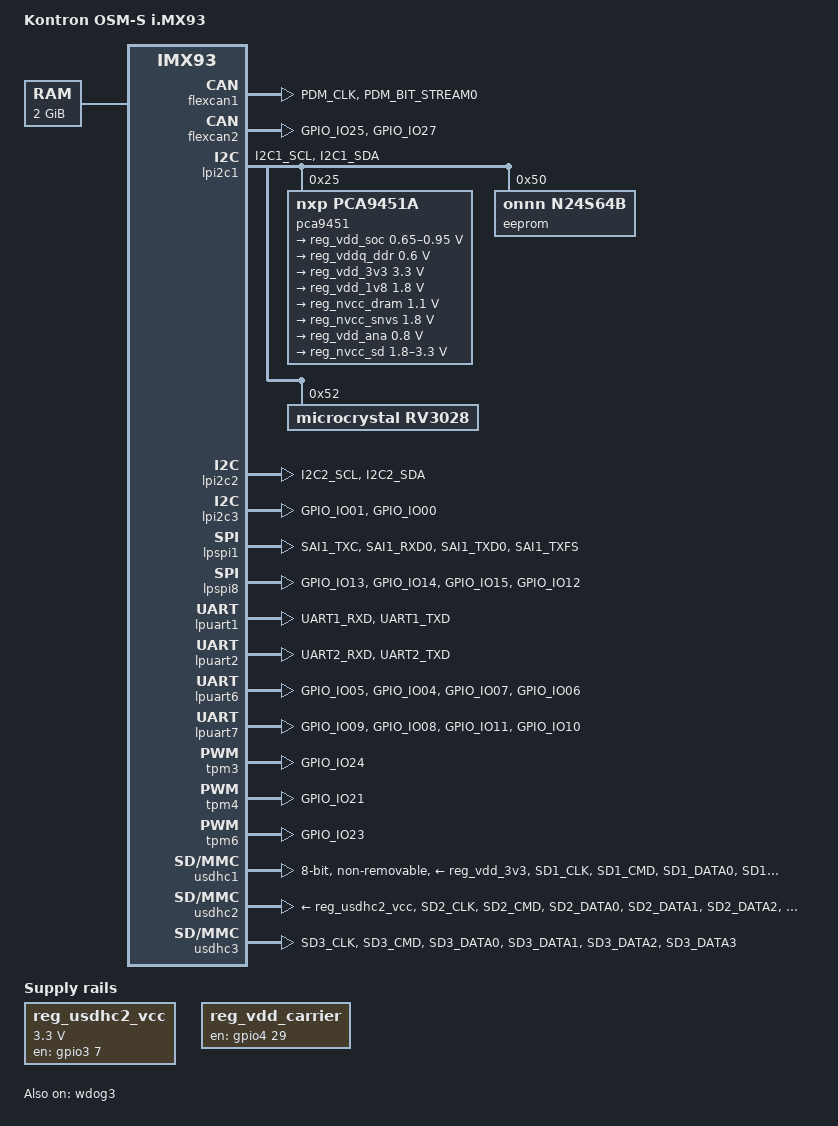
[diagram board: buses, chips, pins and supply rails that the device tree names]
// SPDX-License-Identifier: GPL-2.0+ OR MIT
/*
 * Copyright (C) 2024 Kontron Electronics GmbH
 */

#include <dt-bindings/interrupt-controller/irq.h>
#include "imx93.dtsi"

/ {
	model = "Kontron OSM-S i.MX93";
	compatible = "kontron,imx93-osm-s", "fsl,imx93";

	aliases {
		rtc0 = &rv3028;
		rtc1 = &bbnsm_rtc;
	};

	memory@40000000 {
		device_type = "memory";
		reg = <0x0 0x40000000 0 0x80000000>;
	};

	chosen {
		stdout-path = &lpuart1;
	};

	reg_usdhc2_vcc: regulator-usdhc2-vcc {
		compatible = "regulator-fixed";
		pinctrl-names = "default";
		pinctrl-0 = <&pinctrl_reg_usdhc2_vcc>;
		gpio = <&gpio3 7 GPIO_ACTIVE_HIGH>;
		enable-active-high;
		regulator-min-microvolt = <3300000>;
		regulator-max-microvolt = <3300000>;
		regulator-name = "VCC_SDIO_A";
	};

	reg_vdd_carrier: regulator-vdd-carrier {
		compatible = "regulator-fixed";
		pinctrl-names = "default";
		pinctrl-0 = <&pinctrl_reg_vdd_carrier>;
		gpio = <&gpio4 29 GPIO_ACTIVE_HIGH>;
		enable-active-high;
		regulator-always-on;
		regulator-boot-on;
		regulator-name = "VDD_CARRIER";

		regulator-state-standby {
			regulator-on-in-suspend;
		};

		regulator-state-mem {
			regulator-off-in-suspend;
		};

		regulator-state-disk {
			regulator-off-in-suspend;
		};
	};
};

&flexcan1 { /* OSM-S CAN_A */
	pinctrl-names = "default";
	pinctrl-0 = <&pinctrl_flexcan1>;
};

&flexcan2 { /* OSM-S CAN_B */
	pinctrl-names = "default";
	pinctrl-0 = <&pinctrl_flexcan2>;
};

&gpio1 {
	pinctrl-names = "default";
	pinctrl-0 = <&pinctrl_gpio1>;
	gpio-line-names = "", "", "I2C_A_SCL", "I2C_A_SDA",
			  "UART_CON_RX", "UART_CON_TX", "UART_C_RX", "UART_C_TX",
			  "CAN_A_TX", "CAN_A_RX", "GPIO_A_0", "SPI_A_CS0",
			  "SPI_A_SDI", "SPI_A_SCK","SPI_A_SDO";
};

&gpio2 {
	pinctrl-names = "default";
	pinctrl-0 = <&pinctrl_gpio2>;
	gpio-line-names = "I2C_B_SDA", "I2C_B_SCL", "GPIO_B_1", "GPIO_A_2",
			  "UART_B_TX", "UART_B_RX", "UART_B_RTS", "UART_B_CTS",
			  "UART_A_TX", "UART_A_RX", "UART_A_RTS", "UART_A_CTS",
			  "SPI_B_CS0", "SPI_B_SDI", "SPI_B_SDO", "SPI_B_SCK",
			  "I2S_BITCLK", "I2S_MCLK", "GPIO_A_1", "I2S_A_DATA_OUT",
			  "I2S_A_DATA_IN", "PWM_2", "GPIO_A_3", "PWM_1",
			  "PWM_0", "CAN_B_TX", "I2S_LRCLK", "CAN_B_RX", "GPIO_A_4",
			  "GPIO_A_5";
};

&gpio3 {
	pinctrl-names = "default";
	pinctrl-0 = <&pinctrl_gpio3>;
	gpio-line-names = "SDIO_A_CD", "SDIO_A_CLK", "SDIO_A_CMD", "SDIO_A_D0",
			  "SDIO_A_D1", "SDIO_A_D2", "SDIO_A_D3", "SDIO_A_PWR_EN",
			  "", "", "", "",
			  "", "", "", "",
			  "", "", "", "",
			  "SDIO_B_CLK", "SDIO_B_CMD", "SDIO_B_D0", "SDIO_B_D1",
			  "SDIO_B_D2", "SDIO_B_D3", "GPIO_A_6", "GPIO_A_7";
};

&gpio4 {
	pinctrl-names = "default";
	pinctrl-0 = <&pinctrl_gpio4>;
	gpio-line-names = "ETH_B_MDC", "ETH_B_MDIO", "ETH_B_TXD4", "ETH_B_TXD3",
			  "ETH_B_TXD2", "ETH_B_TXD1", "ETH_B_TX_EN", "ETH_B_TX_CLK",
			  "ETH_B_RX_CTL", "ETH_B_RX_CLK", "ETH_B_RXD0", "ETH_B_RXD1",
			  "ETH_B_RXD2", "ETH_B_RXD3", "ETH_MDC", "ETH_MDIO",
			  "ETH_A_TXD3", "ETH_A_TXD2", "ETH_A_TXD1", "ETH_A_TXD0",
			  "ETH_A_TX_EN", "ETH_A_TX_CLK", "ETH_A_RX_CTL", "ETH_A_RX_CLK",
			  "ETH_A_RXD0", "ETH_A_RXD1", "ETH_A_RXD2", "ETH_A_RXD3",
			  "GPIO_B_0", "CARRIER_PWR_EN";
};

&lpi2c1 {
	pinctrl-names = "default";
	pinctrl-0 = <&pinctrl_lpi2c1>;
	status = "okay";

	pca9451: pmic@25 {
		compatible = "nxp,pca9451a";
		reg = <0x25>;
		nxp,i2c-lt-enable;

		regulators {
			reg_vdd_soc: BUCK1 { /* dual phase with BUCK3 */
				regulator-name = "+0V8_VDD_SOC (BUCK1)";
				regulator-min-microvolt = <650000>;
				regulator-max-microvolt = <950000>;
				regulator-boot-on;
				regulator-always-on;
				regulator-ramp-delay = <3125>;
			};

			reg_vddq_ddr: BUCK2 {
				regulator-name = "+0V6_VDDQ_DDR (BUCK2)";
				regulator-min-microvolt = <600000>;
				regulator-max-microvolt = <600000>;
				regulator-boot-on;
				regulator-always-on;
				regulator-ramp-delay = <3125>;
			};

			reg_vdd_3v3: BUCK4 {
				regulator-name = "+3V3 (BUCK4)";
				regulator-min-microvolt = <3300000>;
				regulator-max-microvolt = <3300000>;
				regulator-boot-on;
				regulator-always-on;
			};

			reg_vdd_1v8: BUCK5 {
				regulator-name = "+1V8 (BUCK5)";
				regulator-min-microvolt = <1800000>;
				regulator-max-microvolt = <1800000>;
				regulator-boot-on;
				regulator-always-on;
			};

			reg_nvcc_dram: BUCK6 {
				regulator-name = "+1V1_NVCC_DRAM (BUCK6)";
				regulator-min-microvolt = <1100000>;
				regulator-max-microvolt = <1100000>;
				regulator-boot-on;
				regulator-always-on;
			};

			reg_nvcc_snvs: LDO1 {
				regulator-name = "+1V8_NVCC_SNVS (LDO1)";
				regulator-min-microvolt = <1800000>;
				regulator-max-microvolt = <1800000>;
				regulator-boot-on;
				regulator-always-on;
			};

			reg_vdd_ana: LDO4 {
				regulator-name = "+0V8_VDD_ANA (LDO4)";
				regulator-min-microvolt = <800000>;
				regulator-max-microvolt = <800000>;
				regulator-boot-on;
				regulator-always-on;
			};

			reg_nvcc_sd: LDO5 {
				regulator-name = "NVCC_SD (LDO5)";
				regulator-min-microvolt = <1800000>;
				regulator-max-microvolt = <3300000>;
			};
		};
	};

	eeprom@50 {
		compatible = "onnn,n24s64b", "atmel,24c64";
		reg = <0x50>;
		pagesize = <32>;
		size = <8192>;
		num-addresses = <1>;
	};

	rv3028: rtc@52 {
		compatible = "microcrystal,rv3028";
		reg = <0x52>;
	};
};

&lpi2c2 { /* OSM-S I2C_A */
	pinctrl-names = "default";
	pinctrl-0 = <&pinctrl_lpi2c2>;
};

&lpi2c3 { /* OSM-S I2C_B */
	pinctrl-names = "default";
	pinctrl-0 = <&pinctrl_lpi2c3>;
};

&lpspi1 { /* OSM-S SPI_A */
	pinctrl-names = "default";
	pinctrl-0 = <&pinctrl_lpspi1>;
	cs-gpios = <&gpio1 11 GPIO_ACTIVE_LOW>;
};

&lpspi8 { /* OSM-S SPI_B */
	pinctrl-names = "default";
	pinctrl-0 = <&pinctrl_lpspi8>;
	cs-gpios = <&gpio2 12 GPIO_ACTIVE_LOW>;
};

&lpuart1 { /* OSM-S UART_CON */
	pinctrl-names = "default";
	pinctrl-0 = <&pinctrl_lpuart1>;
};

&lpuart2 { /* OSM-S UART_C */
	pinctrl-names = "default";
	pinctrl-0 = <&pinctrl_lpuart2>;
};

&lpuart6 { /* OSM-S UART_B */
	pinctrl-names = "default";
	pinctrl-0 = <&pinctrl_lpuart6>;
};

&lpuart7 { /* OSM-S UART_A */
	pinctrl-names = "default";
	pinctrl-0 = <&pinctrl_lpuart7>;
};

&tpm3 { /* OSM-S PWM_0 */
	pinctrl-names = "default";
	pinctrl-0 = <&pinctrl_tpm3>;
};

&tpm4 { /* OSM-S PWM_2 */
	pinctrl-names = "default";
	pinctrl-0 = <&pinctrl_tpm4>;
};

&tpm6 { /* OSM-S PWM_1 */
	pinctrl-names = "default";
	pinctrl-0 = <&pinctrl_tpm6>;
};

&usdhc1 { /* eMMC */
	pinctrl-names = "default", "state_100mhz", "state_200mhz";
	pinctrl-0 = <&pinctrl_usdhc1>;
	pinctrl-1 = <&pinctrl_usdhc1_100mhz>;
	pinctrl-2 = <&pinctrl_usdhc1_200mhz>;
	vmmc-supply = <&reg_vdd_3v3>;
	vqmmc-supply = <&reg_vdd_1v8>;
	bus-width = <8>;
	non-removable;
	status = "okay";
};

&usdhc2 { /* OSM-S SDIO_A */
	pinctrl-names = "default", "state_100mhz", "state_200mhz";
	pinctrl-0 = <&pinctrl_usdhc2>, <&pinctrl_usdhc2_gpio>;
	pinctrl-1 = <&pinctrl_usdhc2_100mhz>, <&pinctrl_usdhc2_gpio>;
	pinctrl-2 = <&pinctrl_usdhc2_200mhz>, <&pinctrl_usdhc2_gpio>;
	vmmc-supply = <&reg_usdhc2_vcc>;
	cd-gpios = <&gpio3 0 GPIO_ACTIVE_LOW>;
};

&usdhc3 { /* OSM-S SDIO_B */
	pinctrl-names = "default", "state_100mhz", "state_200mhz";
	pinctrl-0 = <&pinctrl_usdhc3>;
	pinctrl-1 = <&pinctrl_usdhc3_100mhz>;
	pinctrl-2 = <&pinctrl_usdhc3_200mhz>;
	vqmmc-supply = <&reg_vdd_1v8>;
};

&wdog3 {
	pinctrl-names = "default";
	pinctrl-0 = <&pinctrl_wdog>;
	fsl,ext-reset-output;
	status = "okay";
};

&iomuxc {
	pinctrl_enet_rgmii: enetrgmiigrp {
		fsl,pins = <
			MX93_PAD_ENET2_MDC__ENET1_MDC			0x57e /* ETH_MDC */
			MX93_PAD_ENET2_MDIO__ENET1_MDIO			0x57e /* ETH_MDIO */
			MX93_PAD_ENET2_RD0__ENET1_RGMII_RD0		0x57e /* ETH_A_(S)(R)(G)MII_RXD0 */
			MX93_PAD_ENET2_RD1__ENET1_RGMII_RD1		0x57e /* ETH_A_(S)(R)(G)MII_RXD1 */
			MX93_PAD_ENET2_RD2__ENET1_RGMII_RD2		0x57e /* ETH_A_(R)(G)MII_RXD2 */
			MX93_PAD_ENET2_RD3__ENET1_RGMII_RD3		0x57e /* ETH_A_(R)(G)MII_RXD3 */
			MX93_PAD_ENET2_RXC__ENET1_RGMII_RXC		0x5fe /* ETH_A_(R)(G)MII_RX_CLK */
			MX93_PAD_ENET2_RX_CTL__ENET1_RGMII_RX_CTL	0x57e /* ETH_A_(R)(G)MII_RX_DV(_ER) */
			MX93_PAD_ENET2_TD0__ENET1_RGMII_TD0		0x57e /* ETH_A_(S)(R)(G)MII_TXD0 */
			MX93_PAD_ENET2_TD1__ENET1_RGMII_TD1		0x57e /* ETH_A_(S)(R)(G)MII_TXD1 */
			MX93_PAD_ENET2_TD2__ENET1_RGMII_TD2		0x57e /* ETH_A_(S)(R)(G)MII_TXD2 */
			MX93_PAD_ENET2_TD3__ENET1_RGMII_TD3		0x57e /* ETH_A_(S)(R)(G)MII_TXD3 */
			MX93_PAD_ENET2_TXC__ENET1_RGMII_TXC		0x5fe /* ETH_A_(R)(G)MII_TX_CLK */
			MX93_PAD_ENET2_TX_CTL__ENET1_RGMII_TX_CTL	0x57e /* ETH_A_(R)(G)MII_TX_EN(_ER) */
		>;
	};

	pinctrl_eqos_rgmii: eqosrgmiigrp {
		fsl,pins = <
			MX93_PAD_ENET1_MDC__ENET_QOS_MDC		0x57e /* ETH_B_MDC */
			MX93_PAD_ENET1_MDIO__ENET_QOS_MDIO		0x57e /* ETH_B_MDIO */
			MX93_PAD_ENET1_RD0__ENET_QOS_RGMII_RD0		0x57e /* ETH_B_(S)(R)(G)MII_RXD0 */
			MX93_PAD_ENET1_RD1__ENET_QOS_RGMII_RD1		0x57e /* ETH_B_(S)(R)(G)MII_RXD1 */
			MX93_PAD_ENET1_RD2__ENET_QOS_RGMII_RD2		0x57e /* ETH_B_(R)(G)MII_RXD2 */
			MX93_PAD_ENET1_RD3__ENET_QOS_RGMII_RD3		0x57e /* ETH_B_(R)(G)MII_RXD3 */
			MX93_PAD_ENET1_RXC__CCM_ENET_QOS_CLOCK_GENERATE_RX_CLK 0x57e /* ETH_B_(R)(G)MII_RX_CLK */
			MX93_PAD_ENET1_RX_CTL__ENET_QOS_RGMII_RX_CTL	0x57e /* ETH_B_(R)(G)MII_RX_DV(_ER) */
			MX93_PAD_ENET1_TD0__ENET_QOS_RGMII_TD0		0x57e /* ETH_B_(S)(R)(G)MII_TXD0 */
			MX93_PAD_ENET1_TD1__ENET_QOS_RGMII_TD1		0x57e /* ETH_B_(S)(R)(G)MII_TXD1 */
			MX93_PAD_ENET1_TD2__ENET_QOS_RGMII_TD2		0x57e /* ETH_B_(S)(R)(G)MII_TXD2 */
			MX93_PAD_ENET1_TD3__ENET_QOS_RGMII_TD3		0x57e /* ETH_B_(S)(R)(G)MII_TXD3 */
			MX93_PAD_ENET1_TXC__CCM_ENET_QOS_CLOCK_GENERATE_TX_CLK 0x57e /* ETH_B_(R)(G)MII_TX_CLK */
			MX93_PAD_ENET1_TX_CTL__ENET_QOS_RGMII_TX_CTL	0x57e /* ETH_B_(R)(G)MII_TX_EN(_ER) */
		>;
	};

	pinctrl_flexcan1: flexcan1grp {
		fsl,pins = <
			MX93_PAD_PDM_CLK__CAN1_TX			0x139e /* CAN_A_TX */
			MX93_PAD_PDM_BIT_STREAM0__CAN1_RX		0x139e /* CAN_A_RX */
		>;
	};

	pinctrl_flexcan2: flexcan2grp {
		fsl,pins = <
			MX93_PAD_GPIO_IO25__CAN2_TX			0x139e /* CAN_B_TX */
			MX93_PAD_GPIO_IO27__CAN2_RX			0x139e /* CAN_B_RX */
		>;
	};

	pinctrl_gpio1: gpio1grp {
		fsl,pins = <
			MX93_PAD_PDM_BIT_STREAM1__GPIO1_IO10		0x31e /* GPIO_A_0 */
		>;
	};

	pinctrl_gpio2: gpio2grp {
		fsl,pins = <
			MX93_PAD_GPIO_IO18__GPIO2_IO18			0x31e /* GPIO_A_1 */
			MX93_PAD_GPIO_IO03__GPIO2_IO03			0x31e /* GPIO_A_2 */
			MX93_PAD_GPIO_IO22__GPIO2_IO22			0x31e /* GPIO_A_3 */
			MX93_PAD_GPIO_IO28__GPIO2_IO28			0x31e /* GPIO_A_4 */
			MX93_PAD_GPIO_IO29__GPIO2_IO29			0x31e /* GPIO_A_5 */
			MX93_PAD_GPIO_IO02__GPIO2_IO02			0x31e /* GPIO_B_1 */
		>;
	};

	pinctrl_gpio3: gpio3grp {
		fsl,pins = <
			MX93_PAD_CCM_CLKO1__GPIO3_IO26			0x31e /* GPIO_A_6 */
			MX93_PAD_CCM_CLKO2__GPIO3_IO27			0x31e /* GPIO_A_7 */
		>;
	};

	pinctrl_gpio4: gpio4grp {
		fsl,pins = <
			MX93_PAD_CCM_CLKO3__GPIO4_IO28			0x31e /* GPIO_B_0 */
		>;
	};

	pinctrl_lpi2c1: lpi2c1grp {
		fsl,pins = <
			MX93_PAD_I2C1_SCL__LPI2C1_SCL			0x40000b9e
			MX93_PAD_I2C1_SDA__LPI2C1_SDA			0x40000b9e
		>;
	};

	pinctrl_lpi2c2: lpi2c2grp {
		fsl,pins = <
			MX93_PAD_I2C2_SCL__LPI2C2_SCL			0x40000b9e /* I2C_A_SCL */
			MX93_PAD_I2C2_SDA__LPI2C2_SDA			0x40000b9e /* I2C_A_SDA */
		>;
	};

	pinctrl_lpi2c3: lpi2c3grp {
		fsl,pins = <
			MX93_PAD_GPIO_IO01__LPI2C3_SCL			0x40000b9e /* I2C_B_SCL */
			MX93_PAD_GPIO_IO00__LPI2C3_SDA			0x40000b9e /* I2C_B_SDA */
		>;
	};

	pinctrl_lpspi1: lpspi1grp {
		fsl,pins = <
			MX93_PAD_SAI1_TXC__LPSPI1_SIN			0x3fe /* SPI_A_SDI_(IO0) */
			MX93_PAD_SAI1_RXD0__LPSPI1_SOUT			0x3fe /* SPI_A_SDO_(IO1) */
			MX93_PAD_SAI1_TXD0__LPSPI1_SCK			0x3fe /* SPI_A_SCK */
			MX93_PAD_SAI1_TXFS__GPIO1_IO11			0x3fe /* SPI_A_CS0# */
		>;
	};

	pinctrl_lpspi8: lpspi8grp {
		fsl,pins = <
			MX93_PAD_GPIO_IO13__LPSPI8_SIN			0x3fe /* SPI_B_SDI */
			MX93_PAD_GPIO_IO14__LPSPI8_SOUT			0x3fe /* SPI_B_SDO */
			MX93_PAD_GPIO_IO15__LPSPI8_SCK			0x3fe /* SPI_B_SCK */
			MX93_PAD_GPIO_IO12__GPIO2_IO12			0x3fe /* SPI_B_CS0# */
		>;
	};

	pinctrl_lpuart1: lpuart1grp {
		fsl,pins = <
			MX93_PAD_UART1_RXD__LPUART1_RX			0x31e /* UART_CON_RX */
			MX93_PAD_UART1_TXD__LPUART1_TX			0x31e /* UART_CON_TX */
		>;
	};

	pinctrl_lpuart2: lpuart2grp {
		fsl,pins = <
			MX93_PAD_UART2_RXD__LPUART2_RX			0x31e /* UART_C_RX */
			MX93_PAD_UART2_TXD__LPUART2_TX			0x31e /* UART_C_TX */
		>;
	};

	pinctrl_lpuart6: lpuart6grp {
		fsl,pins = <
			MX93_PAD_GPIO_IO05__LPUART6_RX			0x31e /* UART_B_RX */
			MX93_PAD_GPIO_IO04__LPUART6_TX			0x31e /* UART_B_TX */
			MX93_PAD_GPIO_IO07__LPUART6_RTS_B		0x31e /* UART_B_CTS */
			MX93_PAD_GPIO_IO06__LPUART6_CTS_B		0x31e /* UART_B_RTS */
		>;
	};

	pinctrl_lpuart7: lpuart7grp {
		fsl,pins = <
			MX93_PAD_GPIO_IO09__LPUART7_RX			0x31e /* UART_A_RX */
			MX93_PAD_GPIO_IO08__LPUART7_TX			0x31e /* UART_A_TX */
			MX93_PAD_GPIO_IO11__LPUART7_RTS_B		0x31e /* UART_A_CTS */
			MX93_PAD_GPIO_IO10__LPUART7_CTS_B		0x31e /* UART_A_RTS */
		>;
	};

	pinctrl_reg_usdhc2_vcc: regusdhc2vccgrp {
		fsl,pins = <
			MX93_PAD_SD2_RESET_B__GPIO3_IO07		0x31e /* SDIO_A_PWR_EN */
		>;
	};

	pinctrl_reg_vdd_carrier: regvddcarriergrp {
		fsl,pins = <
			MX93_PAD_CCM_CLKO4__GPIO4_IO29			0x31e /* CARRIER_PWR_EN */
		>;
	};

	pinctrl_sai3: sai3grp {
		fsl,pins = <
			MX93_PAD_GPIO_IO20__SAI3_RX_DATA00		0x31e /* I2S_A_DATA_IN */
			MX93_PAD_GPIO_IO19__SAI3_TX_DATA00		0x31e /* I2S_A_DATA_OUT */
			MX93_PAD_GPIO_IO17__SAI3_MCLK			0x31e /* I2S_MCLK */
			MX93_PAD_GPIO_IO26__SAI3_TX_SYNC		0x31e /* I2S_LRCLK */
			MX93_PAD_GPIO_IO16__SAI3_TX_BCLK		0x31e /* I2S_BITCLK */
		>;
	};

	pinctrl_tpm3: tpm3grp {
		fsl,pins = <
			MX93_PAD_GPIO_IO24__TPM3_CH3			0x57e /* PWM_0 */
		>;
	};

	pinctrl_tpm4: tpm4grp {
		fsl,pins = <
			MX93_PAD_GPIO_IO21__TPM4_CH1			0x57e /* PWM_2 */
		>;
	};

	pinctrl_tpm6: tpm6grp {
		fsl,pins = <
			MX93_PAD_GPIO_IO23__TPM6_CH1			0x57e /* PWM_1 */
		>;
	};

	/* need to config the SION for data and cmd pad, refer to ERR052021 */
	pinctrl_usdhc1: usdhc1grp {
		fsl,pins = <
			MX93_PAD_SD1_CLK__USDHC1_CLK		0x1582
			MX93_PAD_SD1_CMD__USDHC1_CMD		0x40001382
			MX93_PAD_SD1_DATA0__USDHC1_DATA0	0x40001382
			MX93_PAD_SD1_DATA1__USDHC1_DATA1	0x40001382
			MX93_PAD_SD1_DATA2__USDHC1_DATA2	0x40001382
			MX93_PAD_SD1_DATA3__USDHC1_DATA3	0x40001382
			MX93_PAD_SD1_DATA4__USDHC1_DATA4	0x40001382
			MX93_PAD_SD1_DATA5__USDHC1_DATA5	0x40001382
			MX93_PAD_SD1_DATA6__USDHC1_DATA6	0x40001382
			MX93_PAD_SD1_DATA7__USDHC1_DATA7	0x40001382
			MX93_PAD_SD1_STROBE__USDHC1_STROBE	0x1582
		>;
	};

	/* need to config the SION for data and cmd pad, refer to ERR052021 */
	pinctrl_usdhc1_100mhz: usdhc1-100mhzgrp {
		fsl,pins = <
			MX93_PAD_SD1_CLK__USDHC1_CLK		0x158e
			MX93_PAD_SD1_CMD__USDHC1_CMD		0x4000138e
			MX93_PAD_SD1_DATA0__USDHC1_DATA0	0x4000138e
			MX93_PAD_SD1_DATA1__USDHC1_DATA1	0x4000138e
			MX93_PAD_SD1_DATA2__USDHC1_DATA2	0x4000138e
			MX93_PAD_SD1_DATA3__USDHC1_DATA3	0x4000138e
			MX93_PAD_SD1_DATA4__USDHC1_DATA4	0x4000138e
			MX93_PAD_SD1_DATA5__USDHC1_DATA5	0x4000138e
			MX93_PAD_SD1_DATA6__USDHC1_DATA6	0x4000138e
			MX93_PAD_SD1_DATA7__USDHC1_DATA7	0x4000138e
			MX93_PAD_SD1_STROBE__USDHC1_STROBE	0x158e
		>;
	};

	/* need to config the SION for data and cmd pad, refer to ERR052021 */
	pinctrl_usdhc1_200mhz: usdhc1-200mhzgrp {
		fsl,pins = <
			MX93_PAD_SD1_CLK__USDHC1_CLK		0x15fe
			MX93_PAD_SD1_CMD__USDHC1_CMD		0x400013fe
			MX93_PAD_SD1_DATA0__USDHC1_DATA0	0x400013fe
			MX93_PAD_SD1_DATA1__USDHC1_DATA1	0x400013fe
			MX93_PAD_SD1_DATA2__USDHC1_DATA2	0x400013fe
			MX93_PAD_SD1_DATA3__USDHC1_DATA3	0x400013fe
			MX93_PAD_SD1_DATA4__USDHC1_DATA4	0x400013fe
			MX93_PAD_SD1_DATA5__USDHC1_DATA5	0x400013fe
			MX93_PAD_SD1_DATA6__USDHC1_DATA6	0x400013fe
			MX93_PAD_SD1_DATA7__USDHC1_DATA7	0x400013fe
			MX93_PAD_SD1_STROBE__USDHC1_STROBE	0x15fe
		>;
	};

	pinctrl_usdhc2: usdhc2grp {
		fsl,pins = <
			MX93_PAD_SD2_CLK__USDHC2_CLK			0x1582 /* SDIO_A_CLK */
			MX93_PAD_SD2_CMD__USDHC2_CMD			0x40001382 /* SDIO_A_CMD */
			MX93_PAD_SD2_DATA0__USDHC2_DATA0		0x40001382 /* SDIO_A_D0 */
			MX93_PAD_SD2_DATA1__USDHC2_DATA1		0x40001382 /* SDIO_A_D1 */
			MX93_PAD_SD2_DATA2__USDHC2_DATA2		0x40001382 /* SDIO_A_D2 */
			MX93_PAD_SD2_DATA3__USDHC2_DATA3		0x40001382 /* SDIO_A_D3 */
			MX93_PAD_SD2_VSELECT__USDHC2_VSELECT		0x1d0
		>;
	};

	pinctrl_usdhc2_100mhz: usdhc2-100mhzgrp {
		fsl,pins = <
			MX93_PAD_SD2_CLK__USDHC2_CLK			0x158e /* SDIO_A_CLK */
			MX93_PAD_SD2_CMD__USDHC2_CMD			0x4000138e /* SDIO_A_CMD */
			MX93_PAD_SD2_DATA0__USDHC2_DATA0		0x4000138e /* SDIO_A_D0 */
			MX93_PAD_SD2_DATA1__USDHC2_DATA1		0x4000138e /* SDIO_A_D1 */
			MX93_PAD_SD2_DATA2__USDHC2_DATA2		0x4000138e /* SDIO_A_D2 */
			MX93_PAD_SD2_DATA3__USDHC2_DATA3		0x4000138e /* SDIO_A_D3 */
			MX93_PAD_SD2_VSELECT__USDHC2_VSELECT		0x1d0
		>;
	};

	pinctrl_usdhc2_200mhz: usdhc2-200mhzgrp {
		fsl,pins = <
			MX93_PAD_SD2_CLK__USDHC2_CLK			0x15fe /* SDIO_A_CLK */
			MX93_PAD_SD2_CMD__USDHC2_CMD			0x400013fe /* SDIO_A_CMD */
			MX93_PAD_SD2_DATA0__USDHC2_DATA0		0x400013fe /* SDIO_A_D0 */
			MX93_PAD_SD2_DATA1__USDHC2_DATA1		0x400013fe /* SDIO_A_D1 */
			MX93_PAD_SD2_DATA2__USDHC2_DATA2		0x400013fe /* SDIO_A_D2 */
			MX93_PAD_SD2_DATA3__USDHC2_DATA3		0x400013fe /* SDIO_A_D3 */
			MX93_PAD_SD2_VSELECT__USDHC2_VSELECT		0x1d0
		>;
	};

	pinctrl_usdhc2_gpio: usdhc2gpiogrp {
		fsl,pins = <
			MX93_PAD_SD2_CD_B__GPIO3_IO00			0x31e /* SDIO_A_CD# */
		>;
	};

	pinctrl_usdhc3: usdhc3grp {
		fsl,pins = <
			MX93_PAD_SD3_CLK__USDHC3_CLK			0x1582 /* SDIO_B_CLK */
			MX93_PAD_SD3_CMD__USDHC3_CMD			0x40001382 /* SDIO_B_CMD */
			MX93_PAD_SD3_DATA0__USDHC3_DATA0		0x40001382 /* SDIO_B_D0 */
			MX93_PAD_SD3_DATA1__USDHC3_DATA1		0x40001382 /* SDIO_B_D1 */
			MX93_PAD_SD3_DATA2__USDHC3_DATA2		0x40001382 /* SDIO_B_D2 */
			MX93_PAD_SD3_DATA3__USDHC3_DATA3		0x40001382 /* SDIO_B_D3 */
		>;
	};

	pinctrl_usdhc3_100mhz: usdhc3-100mhzgrp {
		fsl,pins = <
			MX93_PAD_SD3_CLK__USDHC3_CLK			0x158e /* SDIO_B_CLK */
			MX93_PAD_SD3_CMD__USDHC3_CMD			0x4000138e /* SDIO_B_CMD */
			MX93_PAD_SD3_DATA0__USDHC3_DATA0		0x4000138e /* SDIO_B_D0 */
			MX93_PAD_SD3_DATA1__USDHC3_DATA1		0x4000138e /* SDIO_B_D1 */
			MX93_PAD_SD3_DATA2__USDHC3_DATA2		0x4000138e /* SDIO_B_D2 */
			MX93_PAD_SD3_DATA3__USDHC3_DATA3		0x4000138e /* SDIO_B_D3 */
		>;
	};

	pinctrl_usdhc3_200mhz: usdhc3-200mhzgrp {
		fsl,pins = <
			MX93_PAD_SD3_CLK__USDHC3_CLK			0x15fe /* SDIO_B_CLK */
			MX93_PAD_SD3_CMD__USDHC3_CMD			0x400013fe /* SDIO_B_CMD */
			MX93_PAD_SD3_DATA0__USDHC3_DATA0		0x400013fe /* SDIO_B_D0 */
			MX93_PAD_SD3_DATA1__USDHC3_DATA1		0x400013fe /* SDIO_B_D1 */
			MX93_PAD_SD3_DATA2__USDHC3_DATA2		0x400013fe /* SDIO_B_D2 */
			MX93_PAD_SD3_DATA3__USDHC3_DATA3		0x400013fe /* SDIO_B_D3 */
		>;
	};

	pinctrl_wdog: wdoggrp {
		fsl,pins = <
			MX93_PAD_WDOG_ANY__WDOG1_WDOG_ANY		0xc6
		>;
	};
};
